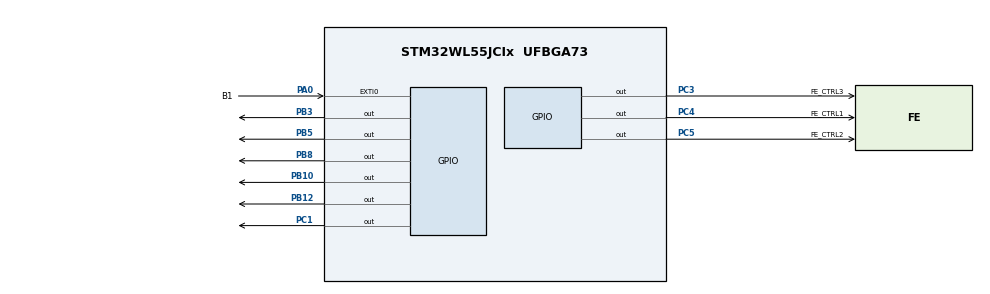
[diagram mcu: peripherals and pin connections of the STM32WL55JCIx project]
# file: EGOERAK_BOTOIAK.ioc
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Mcu.Family=STM32WL
Mcu.Name=STM32WL55JCIx
Mcu.Package=UFBGA73
NUCLEO-WL55JC1.BUTTON=0
NUCLEO-WL55JC1.BUTTON2=1
NUCLEO-WL55JC1.BUTTON3=1
NUCLEO-WL55JC1.LD1=true
NUCLEO-WL55JC1.LD2=true
NUCLEO-WL55JC1.LD3=true
NUCLEO-WL55JC1.VCP=true
NVIC.EXTI0_IRQn=true\:0\:0\:false\:false\:true\:true\:true\:true
NVIC.EXTI1_IRQn=true\:0\:0\:false\:false\:true\:false\:true\:true
NVIC.EXTI9_5_IRQn=true\:0\:0\:false\:false\:true\:false\:true\:true
NVIC.PriorityGroup=NVIC_PRIORITYGROUP_4
NVIC.TIM16_IRQn=true\:0\:0\:false\:false\:true\:true\:true\:true
PA0.GPIO_Label=B1
PA0.GPIO_ModeDefaultEXTI=GPIO_MODE_IT_RISING_FALLING
PA0.GPIO_PuPd=GPIO_PULLUP
PA0.Signal=GPXTI0
PA2.Signal=USART2_TX
PA3.Signal=USART2_RX
PB10.Signal=GPIO_Output
PB12.Signal=GPIO_Output
PB3.Signal=GPIO_Output
PB5.Signal=GPIO_Output
PB8.Signal=GPIO_Output
PC1.Signal=GPIO_Output
PC14-OSC32_IN.GPIO_Label=RCC_OSC32_IN
PC14-OSC32_IN.Signal=RCC_OSC32_IN
PC15-OSC32_OUT.GPIO_Label=RCC_OSC32_OUT
PC15-OSC32_OUT.Signal=RCC_OSC32_OUT
PC3.GPIO_Label=FE_CTRL3
PC3.GPIO_Speed=GPIO_SPEED_FREQ_VERY_HIGH
PC3.Signal=GPIO_Output
PC4.GPIO_Label=FE_CTRL1
PC4.GPIO_Speed=GPIO_SPEED_FREQ_VERY_HIGH
PC4.Signal=GPIO_Output
PC5.GPIO_Label=FE_CTRL2
PC5.GPIO_Speed=GPIO_SPEED_FREQ_VERY_HIGH
PC5.Signal=GPIO_Output
ProjectManager.HeapSize=0x200
ProjectManager.StackSize=0x400
ProjectManager.TargetToolchain=STM32CubeIDE
RCC.HSE_VALUE=32000000
RCC.HSI_VALUE=16000000
RCC.LSE_VALUE=32768
RCC.VCOOutputFreq_Value=32000000
TIM16.Period=9999
TIM16.Prescaler=47
VP_NUCLEO-WL55JC1_VS_BSP_COMMON.Mode=COMMON
VP_TIM16_VS_ClockSourceINT.Mode=Enable_Timer
board=NUCLEO-WL55JC1

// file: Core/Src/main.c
/* USER CODE BEGIN Header */
/**
  ******************************************************************************
  * @file           : main.c
  * @brief          : Main program body
  ******************************************************************************
  * @attention
  *
  * Copyright (c) 2026 STMicroelectronics.
  * All rights reserved.
  *
  * This software is licensed under terms that can be found in the LICENSE file
  * in the root directory of this software component.
  * If no LICENSE file comes with this software, it is provided AS-IS.
  *
  ******************************************************************************
  */
/* USER CODE END Header */
#include "main.h"

/* USER CODE BEGIN Includes */
#include "global.h"
/* USER CODE END Includes */

COM_InitTypeDef BspCOMInit;
TIM_HandleTypeDef htim16;

void SystemClock_Config(void);
static void MX_GPIO_Init(void);
static void MX_TIM16_Init(void);

int main(void)
{

  /* MCU Configuration--------------------------------------------------------*/

  /* Reset of all peripherals, Initializes the Flash interface and the Systick. */
  HAL_Init();

  /* Configure the system clock */
  SystemClock_Config();

  /* Initialize all configured peripherals */
  MX_GPIO_Init();
  MX_TIM16_Init();
  /* USER CODE BEGIN 2 */
  	LCD_Init();
	LCD_SetCursor(0, 0);
	LCD_PrintString(egoerak_str[egoera]);
  /* USER CODE END 2 */

  /* Initialize leds */
  BSP_LED_Init(LED_BLUE);
  BSP_LED_Init(LED_GREEN);
  BSP_LED_Init(LED_RED);

  /* Initialize USER push-button, will be used to trigger an interrupt each time it's pressed.*/
  BSP_PB_Init(BUTTON_SW2, BUTTON_MODE_EXTI);
  BSP_PB_Init(BUTTON_SW3, BUTTON_MODE_EXTI);

  /* Initialize COM1 port (115200, 8 bits (7-bit data + 1 stop bit), no parity */
  BspCOMInit.BaudRate   = 115200;
  BspCOMInit.WordLength = COM_WORDLENGTH_8B;
  BspCOMInit.StopBits   = COM_STOPBITS_1;
  BspCOMInit.Parity     = COM_PARITY_NONE;
  BspCOMInit.HwFlowCtl  = COM_HWCONTROL_NONE;
  if (BSP_COM_Init(COM1, &BspCOMInit) != BSP_ERROR_NONE)
  {
    Error_Handler();
  }

  /* Infinite loop */
  /* USER CODE BEGIN WHILE */
  while (1)
  {
	  tratatuBotoiak();

	  switch (egoera)
		  {
			  case ENTRENA:
				  Crono();
				  Disp_update();
				  break;

			  case PAUSA:
				  break;

			  case IDLE:
			  case GORDE:
				  break;
		  }
    /* USER CODE END WHILE */

  }
}

void SystemClock_Config(void)
{
  RCC_OscInitTypeDef RCC_OscInitStruct = {0};
  RCC_ClkInitTypeDef RCC_ClkInitStruct = {0};

  /** Configure the main internal regulator output voltage
  */
  __HAL_PWR_VOLTAGESCALING_CONFIG(PWR_REGULATOR_VOLTAGE_SCALE2);

  /** Initializes the CPU, AHB and APB buses clocks
  */
  RCC_OscInitStruct.OscillatorType = RCC_OSCILLATORTYPE_MSI;
  RCC_OscInitStruct.MSIState = RCC_MSI_ON;
  RCC_OscInitStruct.MSICalibrationValue = RCC_MSICALIBRATION_DEFAULT;
  RCC_OscInitStruct.MSIClockRange = RCC_MSIRANGE_6;
  RCC_OscInitStruct.PLL.PLLState = RCC_PLL_NONE;
  if (HAL_RCC_OscConfig(&RCC_OscInitStruct) != HAL_OK)
  {
    Error_Handler();
  }

  /** Configure the SYSCLKSource, HCLK, PCLK1 and PCLK2 clocks dividers
  */
  RCC_ClkInitStruct.ClockType = RCC_CLOCKTYPE_HCLK3|RCC_CLOCKTYPE_HCLK
                              |RCC_CLOCKTYPE_SYSCLK|RCC_CLOCKTYPE_PCLK1
                              |RCC_CLOCKTYPE_PCLK2;
  RCC_ClkInitStruct.SYSCLKSource = RCC_SYSCLKSOURCE_MSI;
  RCC_ClkInitStruct.AHBCLKDivider = RCC_SYSCLK_DIV1;
  RCC_ClkInitStruct.APB1CLKDivider = RCC_HCLK_DIV1;
  RCC_ClkInitStruct.APB2CLKDivider = RCC_HCLK_DIV1;
  RCC_ClkInitStruct.AHBCLK3Divider = RCC_SYSCLK_DIV1;

  if (HAL_RCC_ClockConfig(&RCC_ClkInitStruct, FLASH_LATENCY_0) != HAL_OK)
  {
    Error_Handler();
  }
}

static void MX_TIM16_Init(void)
{

  htim16.Instance = TIM16;
  htim16.Init.Prescaler = 47;
  htim16.Init.CounterMode = TIM_COUNTERMODE_UP;
  htim16.Init.Period = 9999;
  htim16.Init.ClockDivision = TIM_CLOCKDIVISION_DIV1;
  htim16.Init.RepetitionCounter = 0;
  htim16.Init.AutoReloadPreload = TIM_AUTORELOAD_PRELOAD_DISABLE;
  if (HAL_TIM_Base_Init(&htim16) != HAL_OK)
  {
    Error_Handler();
  }

}

static void MX_GPIO_Init(void)
{
  GPIO_InitTypeDef GPIO_InitStruct = {0};

  /* GPIO Ports Clock Enable */
  __HAL_RCC_GPIOC_CLK_ENABLE();
  __HAL_RCC_GPIOB_CLK_ENABLE();
  __HAL_RCC_GPIOA_CLK_ENABLE();

  /*Configure GPIO pin Output Level */
  HAL_GPIO_WritePin(GPIOB, GPIO_PIN_3|GPIO_PIN_5|GPIO_PIN_8|GPIO_PIN_12
                          |GPIO_PIN_10, GPIO_PIN_RESET);

  /*Configure GPIO pin Output Level */
  HAL_GPIO_WritePin(GPIOC, FE_CTRL3_Pin|FE_CTRL2_Pin|GPIO_PIN_1|FE_CTRL1_Pin, GPIO_PIN_RESET);

  /*Configure GPIO pins : PB3 PB5 PB8 PB12
                           PB10 */
  GPIO_InitStruct.Pin = GPIO_PIN_3|GPIO_PIN_5|GPIO_PIN_8|GPIO_PIN_12
                          |GPIO_PIN_10;
  GPIO_InitStruct.Mode = GPIO_MODE_OUTPUT_PP;
  GPIO_InitStruct.Pull = GPIO_NOPULL;
  GPIO_InitStruct.Speed = GPIO_SPEED_FREQ_LOW;
  HAL_GPIO_Init(GPIOB, &GPIO_InitStruct);

  /*Configure GPIO pins : FE_CTRL3_Pin FE_CTRL2_Pin FE_CTRL1_Pin */
  GPIO_InitStruct.Pin = FE_CTRL3_Pin|FE_CTRL2_Pin|FE_CTRL1_Pin;
  GPIO_InitStruct.Mode = GPIO_MODE_OUTPUT_PP;
  GPIO_InitStruct.Pull = GPIO_NOPULL;
  GPIO_InitStruct.Speed = GPIO_SPEED_FREQ_VERY_HIGH;
  HAL_GPIO_Init(GPIOC, &GPIO_InitStruct);

  /*Configure GPIO pin : B1_Pin */
  GPIO_InitStruct.Pin = B1_Pin;
  GPIO_InitStruct.Mode = GPIO_MODE_IT_RISING_FALLING;
  GPIO_InitStruct.Pull = GPIO_PULLUP;
  HAL_GPIO_Init(B1_GPIO_Port, &GPIO_InitStruct);

  /*Configure GPIO pin : PC1 */
  GPIO_InitStruct.Pin = GPIO_PIN_1;
  GPIO_InitStruct.Mode = GPIO_MODE_OUTPUT_PP;
  GPIO_InitStruct.Pull = GPIO_NOPULL;
  GPIO_InitStruct.Speed = GPIO_SPEED_FREQ_LOW;
  HAL_GPIO_Init(GPIOC, &GPIO_InitStruct);

  /* EXTI interrupt init*/
  HAL_NVIC_SetPriority(EXTI0_IRQn, 0, 0);
  HAL_NVIC_EnableIRQ(EXTI0_IRQn);

}

void Error_Handler(void)
{
  __disable_irq();
  while (1)
  {
  }
}
